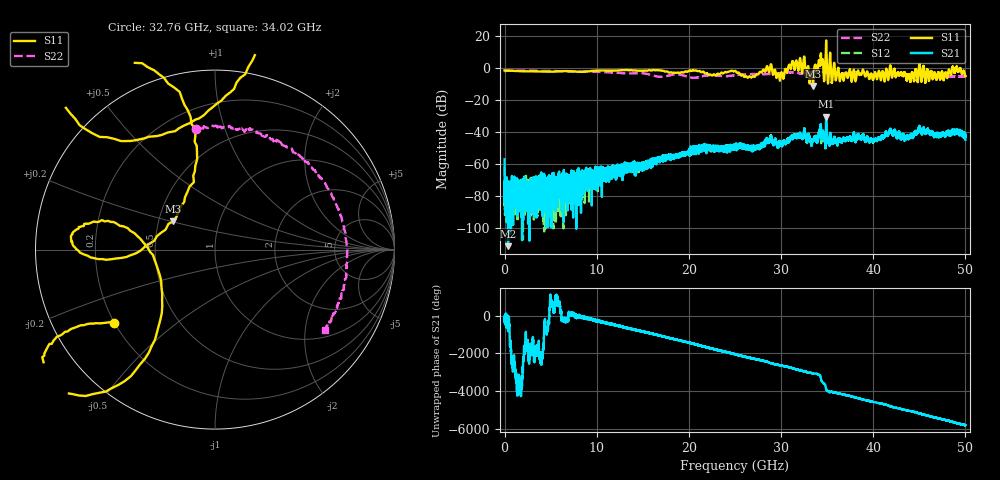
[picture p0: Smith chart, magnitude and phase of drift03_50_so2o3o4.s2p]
!Created with skrf (http://scikit-rf.org).
# Hz S RI R 50.0
!freq ReS11 ImS11 ReS21 ImS21 ReS12 ImS12 ReS22 ImS22
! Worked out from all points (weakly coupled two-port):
!   10001 points, 300 kHz to 50 GHz, reference 50 ohm
!   highest |S21| = -30.23 dB at 34.89 GHz (marker M1); lowest = -111.1 dB at 375.3 MHz (marker M2)
!   lowest |S11| = -11.0 dB at 33.47 GHz (marker M3), VSWR 1.78, Z = 29.8 + j10.2 ohm
!   |S11| at or under -10 dB: 33.44929 GHz to 33.48524 GHz (35.95 MHz wide, 0.107 % of centre)
!   |S22| runs from -5.9 to -1.3 dB; largest |S21 - S12| = 0.0059
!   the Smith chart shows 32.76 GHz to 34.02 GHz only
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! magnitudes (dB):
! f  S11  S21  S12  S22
! 300 kHz  -1.3  -56.9  -61.8  -2.1
! 375.3 MHz  -1.4  -111.1  -69.4  -1.4
! 4.495 GHz  -2.1  -79.0  -70.9  -1.6
! 8.335 GHz  -2.2  -68.4  -78.7  -1.9
! 16.67 GHz  -1.1  -55.7  -57.3  -5.2
! 25 GHz  -1.5  -48.5  -48.8  -4.3
! 26.92 GHz  -4.9  -49.4  -49.2  -3.6
! 28.73 GHz  -2.2  -45.7  -45.2  -3.5
! 30.06 GHz  -2.5  -47.4  -47.4  -2.9
! 31.87 GHz  -1.4  -42.6  -42.3  -2.9
! 33.34 GHz  -2.2  -47.4  -47.1  -2.9
! 33.47 GHz  -11.0  -44.8  -44.4  -2.8
! 34.3 GHz  7.5  -35.1  -35.6  -2.3
! 34.89 GHz  17.1  -30.2  -31.8  -2.4
! 36.58 GHz  -3.4  -46.4  -46.1  -3.5
! 40.17 GHz  -2.6  -44.6  -44.3  -3.7
! 41.67 GHz  -5.4  -40.4  -40.2  -3.7
! 43.84 GHz  -3.6  -43.1  -43.6  -3.9
! 45.19 GHz  -5.6  -38.4  -39.1  -4.5
! 47.07 GHz  -2.7  -42.3  -42.0  -5.0
! 48.79 GHz  -1.9  -39.7  -39.9  -5.1
! 50 GHz  -4.9  -44.6  -42.3  -5.0
